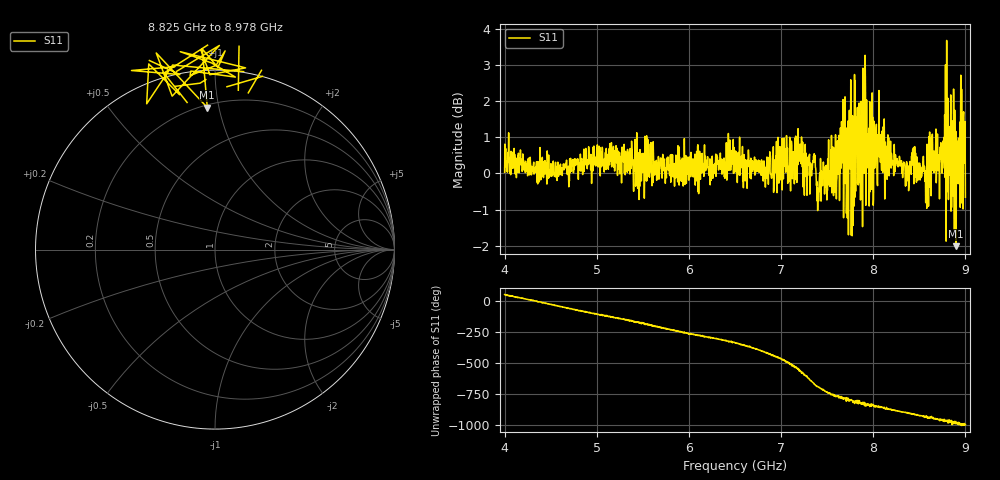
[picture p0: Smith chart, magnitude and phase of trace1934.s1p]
! Created with skrf 1.8.0 (http://scikit-rf.org).
# Hz S RI R 50.0
!freq ReS11 ImS11
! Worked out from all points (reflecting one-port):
!   1601 points, 4 GHz to 9 GHz, reference 50 ohm
!   lowest |S11| = -2.0 dB at 8.9 GHz (marker M1), VSWR 8.65, Z = 10.8 + j46.2 ohm
!   phase of S11 starts at 51 deg and turns -1049 deg over the sweep
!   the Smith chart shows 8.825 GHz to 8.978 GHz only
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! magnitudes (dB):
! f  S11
! 4 GHz  0.0
! 4.625 GHz  -0.1
! 5.25 GHz  0.0
! 5.875 GHz  0.3
! 6.5 GHz  0.3
! 6.816 GHz  0.3
! 7.125 GHz  0.6
! 7.353 GHz  0.5
! 7.409 GHz  -0.8
! 7.619 GHz  0.0
! 7.669 GHz  1.0
! 7.7 GHz  -0.2
! 7.75 GHz  0.6
! 7.788 GHz  -0.3
! 7.822 GHz  1.5
! 7.859 GHz  1.5
! 7.928 GHz  2.0
! 7.944 GHz  1.0
! 8.097 GHz  0.8
! 8.375 GHz  0.2
! 8.441 GHz  -0.3
! 8.575 GHz  0.0
! 8.656 GHz  0.6
! 8.766 GHz  1.0
! 8.788 GHz  -1.0
! 8.9 GHz  -2.0
! 8.972 GHz  0.3
! 9 GHz  -0.7
